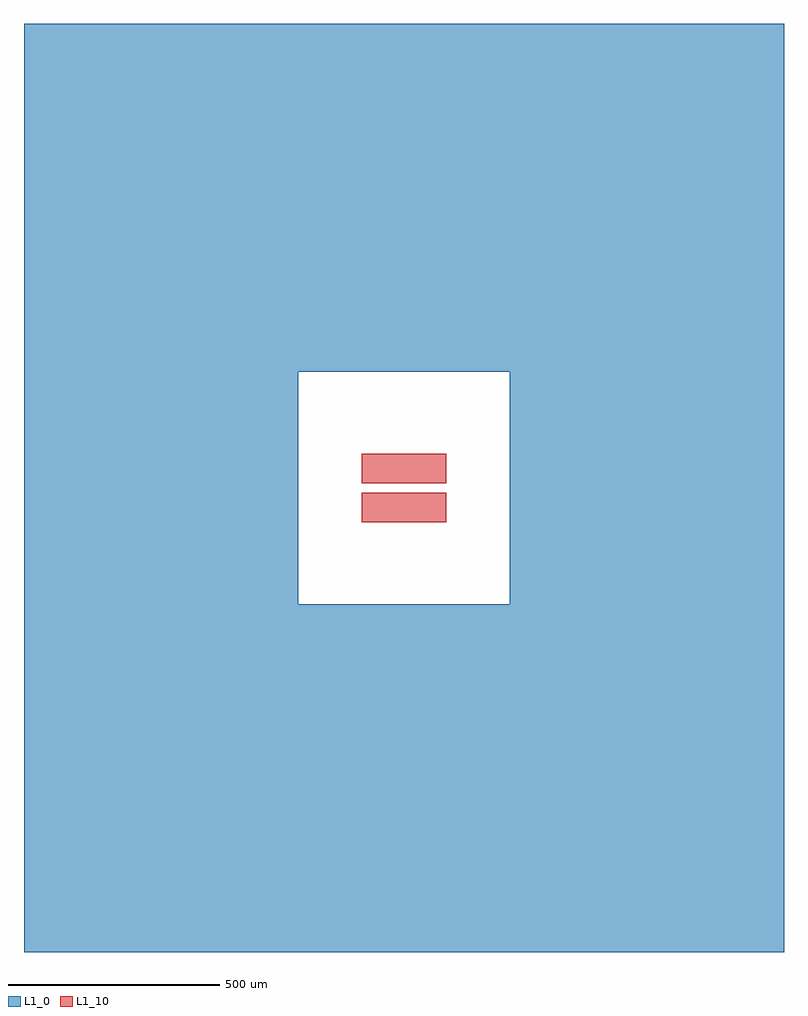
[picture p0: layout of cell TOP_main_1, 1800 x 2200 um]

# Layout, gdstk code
import gdstk
lib = gdstk.Library(unit=1e-6, precision=1e-09)
def R(c, l, rs):  # rectangles x0, y0, x1, y1
    for r in rs: c.add(gdstk.rectangle(r[:2], r[2:], *l))
def A(c, l, x, y, w, h, nx, ny, dx, dy):  # array of equal rectangles
    R(c, l, [(x+i*dx, y+j*dy, x+i*dx+w, y+j*dy+h) for i in range(nx) for j in range(ny)])
def P(c, l, *ps):  # polygons
    for p in ps: c.add(gdstk.Polygon(p, *l))
L1_0 = (1, 0)
L1_10 = (1, 10)

ground_main_1 = lib.new_cell('ground_main_1')
A(ground_main_1, L1_0, -900, -1100, 112.5, 2200, 5, 1, 112.5, 0)
A(ground_main_1, L1_0, -225, -1100, 112.5, 825, 4, 2, 112.5, 1375)
A(ground_main_1, L1_0, 337.5, -1100, 112.5, 2200, 5, 1, 112.5, 0)
P(ground_main_1, L1_0, [(-225,-275),(-250,-275),(-250,275),(-225,275),(-225,1100),(-337.5,1100),(-337.5,-1100),(-225,-1100)],
  [(337.5,1100),(225,1100),(225,275),(250,275),(250,-275),(225,-275),(225,-1100),(337.5,-1100)])

top_main_1 = lib.new_cell('TOP_main_1')
P(top_main_1, L1_10, [(-100,11),(100,11),(100,81),(-100,81),(-100,11)],
  [(-100,-81),(100,-81),(100,-11),(-100,-11),(-100,-81)])
top_main_1.add(gdstk.Reference(ground_main_1, (0,0)))

lib.write_gds('TOP_main_1.gds')
